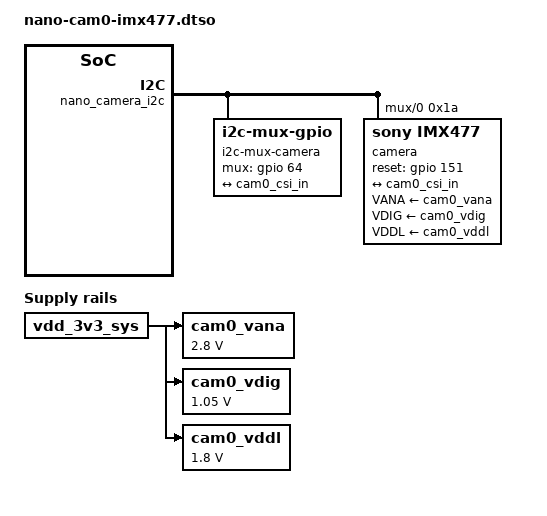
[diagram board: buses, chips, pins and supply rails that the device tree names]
// SPDX-License-Identifier: GPL-2.0
/dts-v1/;
/plugin/;

/ {
	fragment@0 {
		target-path = "/";
		__overlay__ {
			cam0_xclk: clock-cam0 {
				compatible = "fixed-clock";
				#clock-cells = <0>;
				clock-frequency = <24000000>;
			};

			cam0_vana: regulator-cam0-vana {
				compatible = "regulator-fixed";
				regulator-name = "cam0-vana";
				regulator-min-microvolt = <2800000>;
				regulator-max-microvolt = <2800000>;
				vin-supply = <&vdd_3v3_sys>;
			};

			cam0_vdig: regulator-cam0-vdig {
				compatible = "regulator-fixed";
				regulator-name = "cam0-vdig";
				regulator-min-microvolt = <1050000>;
				regulator-max-microvolt = <1050000>;
				vin-supply = <&vdd_3v3_sys>;
			};

			cam0_vddl: regulator-cam0-vddl {
				compatible = "regulator-fixed";
				regulator-name = "cam0-vddl";
				regulator-min-microvolt = <1800000>;
				regulator-max-microvolt = <1800000>;
				vin-supply = <&vdd_3v3_sys>;
			};

			i2c-mux-camera {
				compatible = "i2c-mux-gpio";
				#address-cells = <1>;
				#size-cells = <0>;
				i2c-parent = <&nano_camera_i2c>;
				mux-gpios = <&gpio 64 0>; /* PI0 */

				i2c@0 {
					reg = <0>;
					#address-cells = <1>;
					#size-cells = <0>;

					camera@1a {
						compatible = "sony,imx477";
						reg = <0x1a>;
						clocks = <&cam0_xclk>;
						VANA-supply = <&cam0_vana>;
						VDIG-supply = <&cam0_vdig>;
						VDDL-supply = <&cam0_vddl>;
						reset-gpios = <&gpio 151 0>; /* PS7, high enables module */

						port {
							cam0_out: endpoint {
								clock-lanes = <0>;
								data-lanes = <1 2>;
								link-frequencies = /bits/ 64 <450000000>;
								remote-endpoint = <&cam0_csi_in>;
							};
						};
					};
				};
			};
		};
	};

	fragment@1 {
		target-path = "/host1x@50000000/vi@54080000/csi@838";
		__overlay__ {
			#address-cells = <1>;
			#size-cells = <0>;

			channel@0 {
				reg = <0>;
				nvidia,mipi-calibrate = <&mipi 0x1>; /* CSI-A */

				ports {
					#address-cells = <1>;
					#size-cells = <0>;

					port@0 {
						reg = <0>;
						cam0_csi_in: endpoint {
							data-lanes = <1 2>;
							remote-endpoint = <&cam0_out>;
						};
					};

					port@1 {
						reg = <1>;
						cam0_csi_out: endpoint {
							remote-endpoint = <&cam0_vi_in>;
						};
					};
				};
			};
		};
	};

	fragment@2 {
		target-path = "/host1x@50000000/vi@54080000";
		__overlay__ {
			/* Tegra VI requires an explicit port number for CAM0. */
			ports {
				#address-cells = <1>;
				#size-cells = <0>;

				port@0 {
					reg = <0>;
					cam0_vi_in: endpoint {
						remote-endpoint = <&cam0_csi_out>;
					};
				};
			};
		};
	};
};
